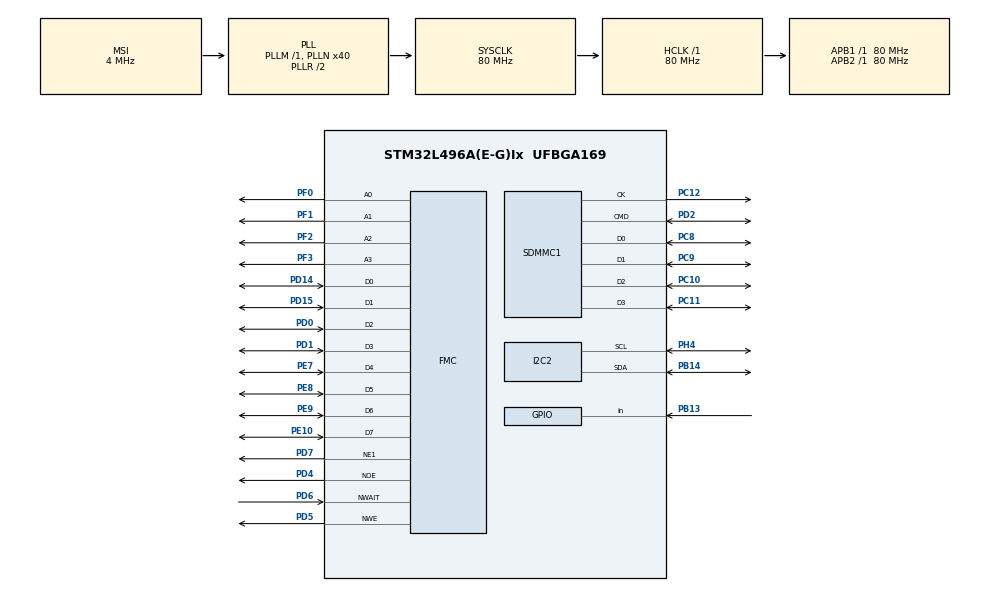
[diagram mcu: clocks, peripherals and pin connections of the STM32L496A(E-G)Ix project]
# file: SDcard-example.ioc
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Dma.I2C2_RX.2.Direction=DMA_PERIPH_TO_MEMORY
Dma.I2C2_RX.2.Instance=DMA1_Channel5
Dma.I2C2_RX.2.MemDataAlignment=DMA_MDATAALIGN_BYTE
Dma.I2C2_RX.2.MemInc=DMA_MINC_ENABLE
Dma.I2C2_RX.2.Mode=DMA_NORMAL
Dma.I2C2_RX.2.PeriphDataAlignment=DMA_PDATAALIGN_BYTE
Dma.I2C2_RX.2.PeriphInc=DMA_PINC_DISABLE
Dma.I2C2_RX.2.Priority=DMA_PRIORITY_LOW
Dma.I2C2_TX.3.Direction=DMA_MEMORY_TO_PERIPH
Dma.I2C2_TX.3.Instance=DMA1_Channel4
Dma.I2C2_TX.3.MemDataAlignment=DMA_MDATAALIGN_BYTE
Dma.I2C2_TX.3.MemInc=DMA_MINC_ENABLE
Dma.I2C2_TX.3.Mode=DMA_NORMAL
Dma.I2C2_TX.3.PeriphDataAlignment=DMA_PDATAALIGN_BYTE
Dma.I2C2_TX.3.PeriphInc=DMA_PINC_DISABLE
Dma.I2C2_TX.3.Priority=DMA_PRIORITY_LOW
Dma.Request0=SDMMC1_RX
Dma.Request1=SDMMC1_TX
Dma.Request2=I2C2_RX
Dma.Request3=I2C2_TX
Dma.SDMMC1_RX.0.Direction=DMA_PERIPH_TO_MEMORY
Dma.SDMMC1_RX.0.Instance=DMA2_Channel4
Dma.SDMMC1_RX.0.MemDataAlignment=DMA_MDATAALIGN_WORD
Dma.SDMMC1_RX.0.MemInc=DMA_MINC_ENABLE
Dma.SDMMC1_RX.0.Mode=DMA_NORMAL
Dma.SDMMC1_RX.0.PeriphDataAlignment=DMA_PDATAALIGN_WORD
Dma.SDMMC1_RX.0.PeriphInc=DMA_PINC_DISABLE
Dma.SDMMC1_RX.0.Priority=DMA_PRIORITY_LOW
Dma.SDMMC1_TX.1.Direction=DMA_MEMORY_TO_PERIPH
Dma.SDMMC1_TX.1.Instance=DMA2_Channel5
Dma.SDMMC1_TX.1.MemDataAlignment=DMA_MDATAALIGN_WORD
Dma.SDMMC1_TX.1.MemInc=DMA_MINC_ENABLE
Dma.SDMMC1_TX.1.Mode=DMA_NORMAL
Dma.SDMMC1_TX.1.PeriphDataAlignment=DMA_PDATAALIGN_WORD
Dma.SDMMC1_TX.1.PeriphInc=DMA_PINC_DISABLE
Dma.SDMMC1_TX.1.Priority=DMA_PRIORITY_LOW
FATFS.BSP.number=1
FATFS.USE_DMA_CODE_SD=0
FATFS0.BSP.STBoard=false
FATFS0.BSP.api=Unknown
FATFS0.BSP.i2caddr=0
FATFS0.BSP.instance=PB13
FATFS0.BSP.ip=GPIO
FATFS0.BSP.mode=Input
FATFS0.BSP.name=Detect_SDIO
FATFS0.BSP.solution=PB13
I2C2.Timing=0x10909CEC
Mcu.Family=STM32L4
Mcu.Name=STM32L496A(E-G)Ix
Mcu.Package=UFBGA169
NVIC.DMA1_Channel4_IRQn=true\:0\:0\:false\:false\:true\:false\:true
NVIC.DMA1_Channel5_IRQn=true\:0\:0\:false\:false\:true\:false\:true
NVIC.DMA2_Channel4_IRQn=true\:7\:0\:true\:false\:true\:false\:true
NVIC.DMA2_Channel5_IRQn=true\:7\:0\:true\:false\:true\:false\:true
NVIC.PriorityGroup=NVIC_PRIORITYGROUP_4
NVIC.SDMMC1_IRQn=true\:4\:0\:true\:false\:true\:true\:true
PA13\ (JTMS/SWDIO).Mode=Serial_Wire
PA13\ (JTMS/SWDIO).Signal=SYS_JTMS-SWDIO
PA14\ (JTCK/SWCLK).Mode=Serial_Wire
PA14\ (JTCK/SWCLK).Signal=SYS_JTCK-SWCLK
PB13.GPIO_PuPd=GPIO_PULLUP
PB13.Signal=GPIO_Input
PB14.Mode=I2C
PB14.Signal=I2C2_SDA
PC10.Mode=SD_4_bits_Wide_bus
PC10.Signal=SDMMC1_D2
PC11.Mode=SD_4_bits_Wide_bus
PC11.Signal=SDMMC1_D3
PC12.Mode=SD_4_bits_Wide_bus
PC12.Signal=SDMMC1_CK
PC8.Mode=SD_4_bits_Wide_bus
PC8.Signal=SDMMC1_D0
PC9.Mode=SD_4_bits_Wide_bus
PC9.Signal=SDMMC1_D1
PD0.Signal=FMC_D2_DA2
PD1.Signal=FMC_D3_DA3
PD14.Signal=FMC_D0_DA0
PD15.Signal=FMC_D1_DA1
PD2.Mode=SD_4_bits_Wide_bus
PD2.Signal=SDMMC1_CMD
PD4.Signal=FMC_NOE
PD5.Signal=FMC_NWE
PD6.Signal=FMC_NWAIT
PD7.Mode=NorPsramChipSelect1_1
PD7.Signal=FMC_NE1
PE10.Signal=FMC_D7_DA7
PE7.Signal=FMC_D4_DA4
PE8.Signal=FMC_D5_DA5
PE9.Signal=FMC_D6_DA6
PF0.Signal=FMC_A0
PF1.Signal=FMC_A1
PF2.Signal=FMC_A2
PF3.Signal=FMC_A3
PH4.Mode=I2C
PH4.Signal=I2C2_SCL
ProjectManager.HeapSize=0x200
ProjectManager.StackSize=0x400
ProjectManager.TargetToolchain=STM32CubeIDE
RCC.ADCFreq_Value=32000000
RCC.AHBFreq_Value=80000000
RCC.APB1Freq_Value=80000000
RCC.APB1TimFreq_Value=80000000
RCC.APB2Freq_Value=80000000
RCC.APB2TimFreq_Value=80000000
RCC.CortexFreq_Value=80000000
RCC.HCLKFreq_Value=80000000
RCC.HSE_VALUE=8000000
RCC.HSI48_VALUE=48000000
RCC.HSI_VALUE=16000000
RCC.LSE_VALUE=32768
RCC.MSI_VALUE=4000000
RCC.PLLN=40
RCC.PLLQ=RCC_PLLQ_DIV8
RCC.PLLSAI1N=16
RCC.SYSCLKFreq_VALUE=80000000
RCC.SYSCLKSource=RCC_SYSCLKSOURCE_PLLCLK
RCC.USBFreq_Value=32000000
RCC.VCOOutputFreq_Value=160000000
SH.FMC_A0.0=FMC_A0,4b-a1
SH.FMC_A1.0=FMC_A1,4b-a1
SH.FMC_A2.0=FMC_A2,4b-a1
SH.FMC_A3.0=FMC_A3,4b-a1
SH.FMC_D0_DA0.0=FMC_D0,8b-d1
SH.FMC_D1_DA1.0=FMC_D1,8b-d1
SH.FMC_D2_DA2.0=FMC_D2,8b-d1
SH.FMC_D3_DA3.0=FMC_D3,8b-d1
SH.FMC_D4_DA4.0=FMC_D4,8b-d1
SH.FMC_D5_DA5.0=FMC_D5,8b-d1
SH.FMC_D6_DA6.0=FMC_D6,8b-d1
SH.FMC_D7_DA7.0=FMC_D7,8b-d1
SH.FMC_NOE.0=FMC_NOE,Sram1
SH.FMC_NWAIT.0=FMC_NWAIT,AsynchronousWait1
SH.FMC_NWE.0=FMC_NWE,Sram1
VP_FATFS_VS_SDIO.Mode=SDIO
board=custom

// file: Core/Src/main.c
/* USER CODE BEGIN Header */
/**
  ******************************************************************************
  * @file           : main.c
  * @brief          : Main program body
  ******************************************************************************
  * @attention
  *
  * Copyright (c) 2022 STMicroelectronics.
  * All rights reserved.
  *
  * This software is licensed under terms that can be found in the LICENSE file
  * in the root directory of this software component.
  * If no LICENSE file comes with this software, it is provided AS-IS.
  *
  ******************************************************************************
  */
/* USER CODE END Header */
#include "main.h"
#include "fatfs.h"

/* USER CODE BEGIN PD */
#define FATFS_MKFS_ALLOWED 1
/* USER CODE END PD */

/* USER CODE BEGIN PM */
FATFS SDFatFs;  /* File system object for SD card logical drive */
FIL MyFile;     /* File object */
char SDPath[4]; /* SD card logical drive path */

/* USER CODE END PM */

I2C_HandleTypeDef hi2c2;
DMA_HandleTypeDef hdma_i2c2_rx;
DMA_HandleTypeDef hdma_i2c2_tx;

SD_HandleTypeDef hsd1;
DMA_HandleTypeDef hdma_sdmmc1_rx;
DMA_HandleTypeDef hdma_sdmmc1_tx;

SRAM_HandleTypeDef hsram1;

/* USER CODE BEGIN PV */
typedef enum {
  APPLICATION_IDLE = 0,
  APPLICATION_RUNNING,
  APPLICATION_SD_UNPLUGGED,
} FS_FileOperationsTypeDef;

FS_FileOperationsTypeDef Appli_state = APPLICATION_IDLE;
/* USER CODE END PV */

void SystemClock_Config(void);
static void MX_GPIO_Init(void);
static void MX_DMA_Init(void);
static void MX_SDMMC1_SD_Init(void);
static void MX_I2C2_Init(void);
static void MX_FMC_Init(void);
/* USER CODE BEGIN PFP */
static void FS_FileOperations(void);
static void SD_Initialize(void);

static uint8_t isInitialized = 0;
static uint8_t isCreated = 0;
uint8_t workBuffer[_MAX_SS];

/* USER CODE END PFP */

int main(void)
{

  /* MCU Configuration--------------------------------------------------------*/

  /* Reset of all peripherals, Initializes the Flash interface and the Systick. */
  HAL_Init();

  /* Configure the system clock */
  SystemClock_Config();

  /* Initialize all configured peripherals */
  MX_GPIO_Init();
  MX_DMA_Init();
  MX_SDMMC1_SD_Init();
  MX_I2C2_Init();
  MX_FATFS_Init();
  MX_FMC_Init();
  /* USER CODE BEGIN 2 */
  // init MFX
  uint8_t ret_mfx = IO_ERROR;

  // init after gpio init
  ret_mfx = BSP_IO_Init();

  BSP_LED_Init(LED2);
  BSP_LED_Init(LED1);

  if (ret_mfx == IO_OK) {
	  BSP_LED_On(LED1);
	  BSP_LED_On(LED2);
  }

  /* 1- Link the micro SD disk I/O driver */
  // FATFS_LinkDriver(&SD_Driver, SDPath) has already called in MX_FATFS_Init()
//  if(FATFS_LinkDriver(&SD_Driver, SDPath) == 0)
//  {
    /*##-2- Init the SD Card #################################################*/
  	BSP_LED_Off(LED1);
    BSP_LED_Off(LED2);

    SD_Initialize();

    if(BSP_SD_IsDetected())
    {
      Appli_state = APPLICATION_RUNNING;
    }
//  }
//  else
//  {
//    Error_Handler();
//    while(1) {};
//  }

  /* USER CODE END 2 */

  /* Infinite loop */
  /* USER CODE BEGIN WHILE */
  while (1)
  {
	switch(Appli_state)
	{
	case APPLICATION_RUNNING:
	  BSP_LED_Off(LED1);
	  SD_Initialize();
	  FS_FileOperations();
	  Appli_state = APPLICATION_IDLE;
	  break;

	case APPLICATION_IDLE:
	  break;

	case APPLICATION_SD_UNPLUGGED:
	  if (isInitialized == 1)
	  {
		Error_Handler();
		isInitialized = 0;
	  }

	  Appli_state = APPLICATION_IDLE;
	  break;

	default:
	  break;
	}
    /* USER CODE END WHILE */

  }
}

void SystemClock_Config(void)
{
  RCC_OscInitTypeDef RCC_OscInitStruct = {0};
  RCC_ClkInitTypeDef RCC_ClkInitStruct = {0};

  /** Configure the main internal regulator output voltage
  */
  if (HAL_PWREx_ControlVoltageScaling(PWR_REGULATOR_VOLTAGE_SCALE1) != HAL_OK)
  {
    Error_Handler();
  }
  /** Initializes the RCC Oscillators according to the specified parameters
  * in the RCC_OscInitTypeDef structure.
  */
  RCC_OscInitStruct.OscillatorType = RCC_OSCILLATORTYPE_MSI;
  RCC_OscInitStruct.MSIState = RCC_MSI_ON;
  RCC_OscInitStruct.MSICalibrationValue = 0;
  RCC_OscInitStruct.MSIClockRange = RCC_MSIRANGE_6;
  RCC_OscInitStruct.PLL.PLLState = RCC_PLL_ON;
  RCC_OscInitStruct.PLL.PLLSource = RCC_PLLSOURCE_MSI;
  RCC_OscInitStruct.PLL.PLLM = 1;
  RCC_OscInitStruct.PLL.PLLN = 40;
  RCC_OscInitStruct.PLL.PLLP = RCC_PLLP_DIV2;
  RCC_OscInitStruct.PLL.PLLQ = RCC_PLLQ_DIV8;
  RCC_OscInitStruct.PLL.PLLR = RCC_PLLR_DIV2;
  if (HAL_RCC_OscConfig(&RCC_OscInitStruct) != HAL_OK)
  {
    Error_Handler();
  }
  /** Initializes the CPU, AHB and APB buses clocks
  */
  RCC_ClkInitStruct.ClockType = RCC_CLOCKTYPE_HCLK|RCC_CLOCKTYPE_SYSCLK
                              |RCC_CLOCKTYPE_PCLK1|RCC_CLOCKTYPE_PCLK2;
  RCC_ClkInitStruct.SYSCLKSource = RCC_SYSCLKSOURCE_PLLCLK;
  RCC_ClkInitStruct.AHBCLKDivider = RCC_SYSCLK_DIV1;
  RCC_ClkInitStruct.APB1CLKDivider = RCC_HCLK_DIV1;
  RCC_ClkInitStruct.APB2CLKDivider = RCC_HCLK_DIV1;

  if (HAL_RCC_ClockConfig(&RCC_ClkInitStruct, FLASH_LATENCY_4) != HAL_OK)
  {
    Error_Handler();
  }
}

static void MX_I2C2_Init(void)
{

  hi2c2.Instance = I2C2;
  hi2c2.Init.Timing = 0x10909CEC;
  hi2c2.Init.OwnAddress1 = 0;
  hi2c2.Init.AddressingMode = I2C_ADDRESSINGMODE_7BIT;
  hi2c2.Init.DualAddressMode = I2C_DUALADDRESS_DISABLE;
  hi2c2.Init.OwnAddress2 = 0;
  hi2c2.Init.OwnAddress2Masks = I2C_OA2_NOMASK;
  hi2c2.Init.GeneralCallMode = I2C_GENERALCALL_DISABLE;
  hi2c2.Init.NoStretchMode = I2C_NOSTRETCH_DISABLE;
  if (HAL_I2C_Init(&hi2c2) != HAL_OK)
  {
    Error_Handler();
  }
  /** Configure Analogue filter
  */
  if (HAL_I2CEx_ConfigAnalogFilter(&hi2c2, I2C_ANALOGFILTER_ENABLE) != HAL_OK)
  {
    Error_Handler();
  }
  /** Configure Digital filter
  */
  if (HAL_I2CEx_ConfigDigitalFilter(&hi2c2, 0) != HAL_OK)
  {
    Error_Handler();
  }

}

static void MX_SDMMC1_SD_Init(void)
{

  hsd1.Instance = SDMMC1;
  hsd1.Init.ClockEdge = SDMMC_CLOCK_EDGE_RISING;
  hsd1.Init.ClockBypass = SDMMC_CLOCK_BYPASS_DISABLE;
  hsd1.Init.ClockPowerSave = SDMMC_CLOCK_POWER_SAVE_DISABLE;
  hsd1.Init.BusWide = SDMMC_BUS_WIDE_1B;
  hsd1.Init.HardwareFlowControl = SDMMC_HARDWARE_FLOW_CONTROL_DISABLE;
  hsd1.Init.ClockDiv = 0;

}

static void MX_DMA_Init(void)
{

  /* DMA controller clock enable */
  __HAL_RCC_DMA2_CLK_ENABLE();
  __HAL_RCC_DMA1_CLK_ENABLE();

  /* DMA interrupt init */
  /* DMA1_Channel4_IRQn interrupt configuration */
  HAL_NVIC_SetPriority(DMA1_Channel4_IRQn, 0, 0);
  HAL_NVIC_EnableIRQ(DMA1_Channel4_IRQn);
  /* DMA1_Channel5_IRQn interrupt configuration */
  HAL_NVIC_SetPriority(DMA1_Channel5_IRQn, 0, 0);
  HAL_NVIC_EnableIRQ(DMA1_Channel5_IRQn);
  /* DMA2_Channel4_IRQn interrupt configuration */
  HAL_NVIC_SetPriority(DMA2_Channel4_IRQn, 7, 0);
  HAL_NVIC_EnableIRQ(DMA2_Channel4_IRQn);
  /* DMA2_Channel5_IRQn interrupt configuration */
  HAL_NVIC_SetPriority(DMA2_Channel5_IRQn, 7, 0);
  HAL_NVIC_EnableIRQ(DMA2_Channel5_IRQn);

}

/* FMC initialization function */
static void MX_FMC_Init(void)
{

  FMC_NORSRAM_TimingTypeDef Timing = {0};

  /** Perform the SRAM1 memory initialization sequence
  */
  hsram1.Instance = FMC_NORSRAM_DEVICE;
  hsram1.Extended = FMC_NORSRAM_EXTENDED_DEVICE;
  /* hsram1.Init */
  hsram1.Init.NSBank = FMC_NORSRAM_BANK1;
  hsram1.Init.DataAddressMux = FMC_DATA_ADDRESS_MUX_DISABLE;
  hsram1.Init.MemoryType = FMC_MEMORY_TYPE_SRAM;
  hsram1.Init.MemoryDataWidth = FMC_NORSRAM_MEM_BUS_WIDTH_8;
  hsram1.Init.BurstAccessMode = FMC_BURST_ACCESS_MODE_DISABLE;
  hsram1.Init.WaitSignalPolarity = FMC_WAIT_SIGNAL_POLARITY_LOW;
  hsram1.Init.WaitSignalActive = FMC_WAIT_TIMING_BEFORE_WS;
  hsram1.Init.WriteOperation = FMC_WRITE_OPERATION_DISABLE;
  hsram1.Init.WaitSignal = FMC_WAIT_SIGNAL_DISABLE;
  hsram1.Init.ExtendedMode = FMC_EXTENDED_MODE_DISABLE;
  hsram1.Init.AsynchronousWait = FMC_ASYNCHRONOUS_WAIT_ENABLE;
  hsram1.Init.WriteBurst = FMC_WRITE_BURST_DISABLE;
  hsram1.Init.ContinuousClock = FMC_CONTINUOUS_CLOCK_SYNC_ONLY;
  hsram1.Init.WriteFifo = FMC_WRITE_FIFO_ENABLE;
  hsram1.Init.PageSize = FMC_PAGE_SIZE_NONE;
  /* Timing */
  Timing.AddressSetupTime = 15;
  Timing.AddressHoldTime = 15;
  Timing.DataSetupTime = 255;
  Timing.BusTurnAroundDuration = 15;
  Timing.CLKDivision = 16;
  Timing.DataLatency = 17;
  Timing.AccessMode = FMC_ACCESS_MODE_A;
  /* ExtTiming */

  if (HAL_SRAM_Init(&hsram1, &Timing, NULL) != HAL_OK)
  {
    Error_Handler( );
  }

}

static void MX_GPIO_Init(void)
{
  GPIO_InitTypeDef GPIO_InitStruct = {0};

  /* GPIO Ports Clock Enable */
  __HAL_RCC_GPIOA_CLK_ENABLE();
  __HAL_RCC_GPIOD_CLK_ENABLE();
  __HAL_RCC_GPIOC_CLK_ENABLE();
  __HAL_RCC_GPIOF_CLK_ENABLE();
  __HAL_RCC_GPIOE_CLK_ENABLE();
  __HAL_RCC_GPIOH_CLK_ENABLE();
  __HAL_RCC_GPIOB_CLK_ENABLE();

  /*Configure GPIO pin : PB13 */
  GPIO_InitStruct.Pin = GPIO_PIN_13;
  GPIO_InitStruct.Mode = GPIO_MODE_INPUT;
  GPIO_InitStruct.Pull = GPIO_PULLUP;
  HAL_GPIO_Init(GPIOB, &GPIO_InitStruct);

}

/* USER CODE BEGIN 4 */
static void FS_FileOperations(void)
{
  FRESULT res; /* FatFs function common result code */
  uint32_t byteswritten, bytesread; /* File write/read counts */
  uint8_t wtext[] = "stm32l496g_discovery : This is STM32 working with FatFs and uSD diskio driver"; /* File write buffer */
  uint8_t rtext[100]; /* File read buffer */

  /* Register the file system object to the FatFs module */
  if(f_mount(&SDFatFs, (TCHAR const*)SDPath, 0) == FR_OK)
  {
#if FATFS_MKFS_ALLOWED
    if (isCreated == 0)
    {
      res = f_mkfs(SDPath, FM_ANY, 0, workBuffer, sizeof(workBuffer));

      if (res != FR_OK)
      {
        Error_Handler();
        while(1);
      }
    }
    isCreated = 1;
#endif
    /* Create and Open a new text file object with write access */
    if(f_open(&MyFile, "STM32.TXT", FA_CREATE_ALWAYS | FA_WRITE) == FR_OK)
    {
      /* Write data to the text file */
      res = f_write(&MyFile, wtext, sizeof(wtext), (void *)&byteswritten);

      if((byteswritten > 0) && (res == FR_OK))
      {
        /* Close the open text file */
        f_close(&MyFile);

        /* Open the text file object with read access */
        if(f_open(&MyFile, "STM32.TXT", FA_READ) == FR_OK)
        {
          /* Read data from the text file */
          res = f_read(&MyFile, rtext, sizeof(rtext), (void *)&bytesread);

          if((bytesread > 0) && (res == FR_OK))
          {
            /* Close the open text file */
            f_close(&MyFile);

            /* Compare read data with the expected data */
            if((bytesread == byteswritten))
            {
              /* Success of the demo: no error occurrence */
              BSP_LED_On(LED2);
              return;
            }
          }
        }
      }
    }
  }
  /* Error */
  Error_Handler();
}

static void SD_Initialize(void)
{
  if (isInitialized == 0)
  {
    if (BSP_SD_Init() == MSD_OK)
    {
      BSP_SD_ITConfig();
      isInitialized = 1;
    }
    else
    {
      BSP_LED_On(LED1);
      /* wait until the uSD is plugged */
      while (BSP_SD_IsDetected() != SD_PRESENT)
      {}
      BSP_LED_Off(LED1);
    }
  }
}
/* USER CODE END 4 */

void Error_Handler(void)
{
  __disable_irq();
  while (1)
  {
  }
}
